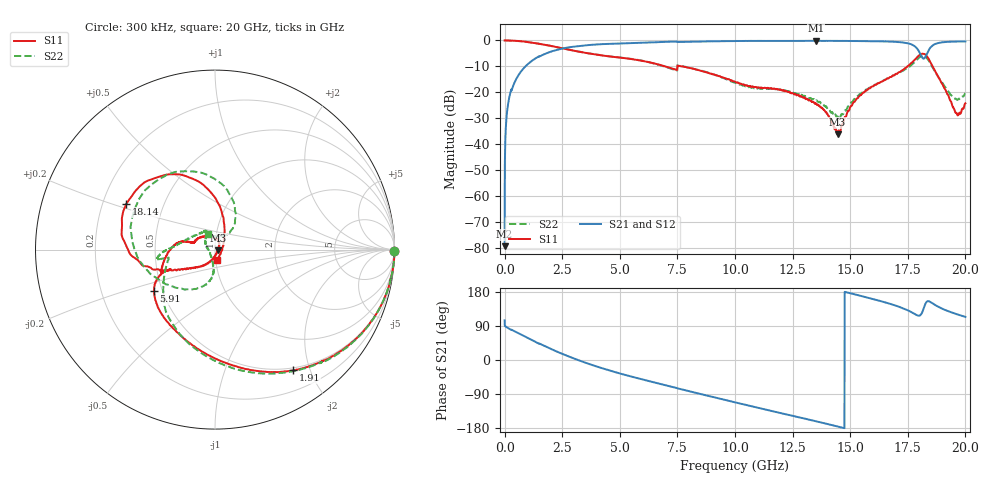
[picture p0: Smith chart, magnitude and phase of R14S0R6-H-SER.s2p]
!{R14S0R6}
!Johanson Technology Inc.
!www.johansontechnology.com
!Test Board Conditions:
!Substrate Type  RO4350B
!Substrate Thickness  20 mil
!Substrate Dk  3.66
!TL Type: GCPW
!TL Trace Width  36 mil
!TL Gap  12 mil
!Electrode orientation  Horizontal
!DUT TOPOLOGY	SERIES
!Mounting Pad LxW  26x36 mil
! Created Wed Nov 25 17:33:21 2020
! 2 Port Network Data from SP1.SP block
! freq  magS11  angS11  magS21  angS21  magS12  angS12  magS22  angS22
# khz S ma R 50
! decimated to every 10th point (10 MHz spacing) of the original 1 MHz Johanson file; values unchanged
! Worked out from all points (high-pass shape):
!   2001 points, 300 kHz to 20 GHz, reference 50 ohm
!   highest |S21| = -0.14 dB at 13.52 GHz (marker M1); lowest = -79.3 dB at 300 kHz (marker M2)
!   |S21| within 3 dB of the highest: 2.501 GHz to 17.91 GHz (15.4 GHz wide, 151 % of centre); 18.45 GHz to end of sweep
!   lowest |S11| = -36.3 dB at 14.45 GHz (marker M3), VSWR 1.03, Z = 51.5 - j0.42 ohm
!   |S11| at or under -10 dB: 6.964 GHz to 7.499 GHz (534.8 MHz wide, 7.4 % of centre); 7.727 GHz to 17.48 GHz (9.757 GHz wide, 77.4 % of centre); 18.58 GHz to end of sweep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
!   |S22| runs from -29.8 to 0.0 dB; largest |S21 - S12| = 0.014
!   S11 on the Smith chart (normalised r, x): 300 kHz: open; 1.91 GHz: 0.47, -1.74; 5.91 GHz: 0.45, -0.25; 18.14 GHz: 0.30, +0.22; 20 GHz: 1.01, -0.12
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300  0.9993 -0.4  0.0001083 104.4  0.0001631 63.4  1 -0.3
110300  0.9987 -3.8  0.04367 86.0  0.04382 85.9  0.9989 -3.8
180300  0.9967 -6.3  0.07108 83.3  0.0715 83.2  0.997 -6.3
290300  0.9919 -10.1  0.1141 79.3  0.1145 79.3  0.9912 -10.0
900300  0.9455 -28.1  0.3153 61.5  0.3149 61.4  0.9463 -28.4
1910300  0.8006 -57.1  0.5869 31.9  0.5876 31.9  0.799 -58.5
3340300  0.5949 -92.3  0.7911 -3.5  0.7913 -3.5  0.5962 -94.7
5910300  0.4103 -145.9  0.9016 -50.1  0.9033 -50.1  0.4127 -133.5
6670300  0.3454 -154.4  0.9279 -61.9  0.9294 -61.8  0.3396 -147.6
8420300  0.2672 -174.4  0.9514 -88.5  0.9519 -88.4  0.2695 -179.5
1.00003e7  0.1613 164.0  0.9744 -111.7  0.974 -111.7  0.1533 154.3
1.33403e7  0.06504 91.5  0.9812 -159.2  0.9806 -159.2  0.07381 135.3
1.35203e7  0.0603 82.0  0.9844 -161.7  0.9795 -161.8  0.06907 138.8
1.44503e7  0.0154 -15.4  0.9804 -175.5  0.9819 -175.4  0.03234 -161.5
1.53303e7  0.07764 -115.1  0.9736 171.1  0.9732 171.2  0.08507 -97.0
1.66703e7  0.1866 -146.4  0.9532 149.3  0.9465 149.4  0.1899 -102.2
1.76903e7  0.3782 -165.0  0.8266 125.2  0.8309 125.3  0.3441 -148.3
1.81403e7  0.5562 152.7  0.46 127.9  0.4581 128.6  0.5085 145.5
1.83403e7  0.4888 120.8  0.5681 154.5  0.5691 155.0  0.4518 105.5
1.86403e7  0.2824 89.0  0.8351 146.9  0.8355 147.0  0.2718 66.4
1.96103e7  0.0395 -4.7  0.9533 121.2  0.9579 121.5  0.07382 80.2
2e7  0.06142 -80.3  0.9561 113.7  0.953 113.7  0.09491 115.9
